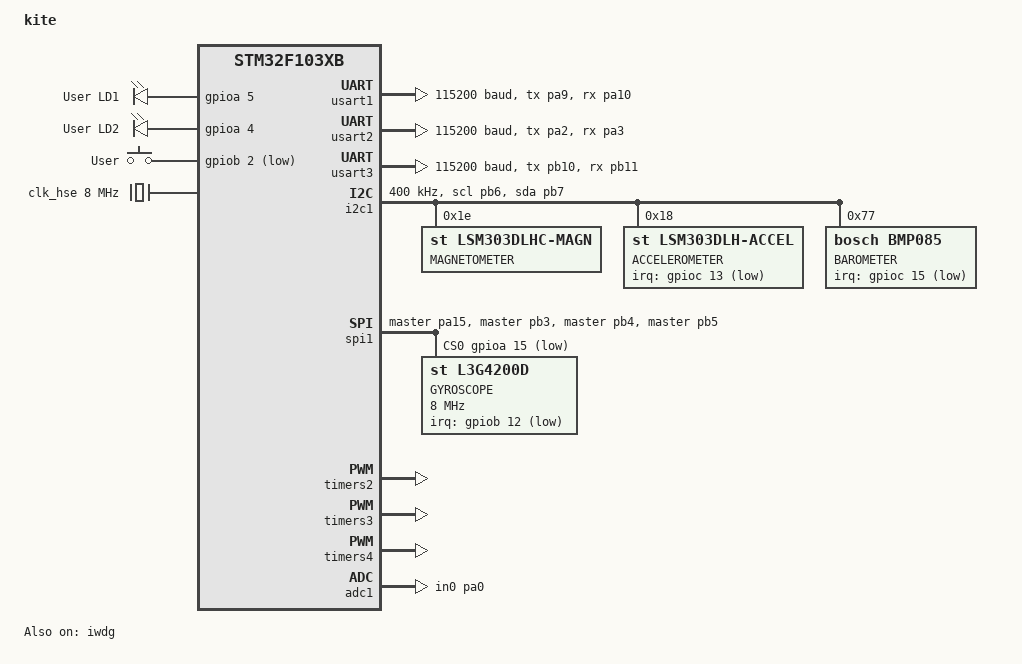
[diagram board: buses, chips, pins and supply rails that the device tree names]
/*
 * Copyright (c) 2021 gouqs@hotmail.com
 *
 * SPDX-License-Identifier: Apache-2.0
 */

/dts-v1/;
#include <st/f1/stm32f103Xb.dtsi>
#include <st/f1/stm32f103c(8-b)tx-pinctrl.dtsi>

/ {
	model = "kite";
	compatible = "kite";

	chosen {
		zephyr,console = &usart1;
		zephyr,shell-uart = &usart1;
		zephyr,sram = &sram0;
		zephyr,flash = &flash0;
		//zephyr,code-partition = &slot0_partition;
	};

	leds {
		compatible = "gpio-leds";
		green_led_1: led_1 {
			gpios = <&gpioa 5 GPIO_ACTIVE_HIGH>;
			label = "User LD1";
		};
		green_led_2: led_2 {
			gpios = <&gpioa 4 GPIO_ACTIVE_HIGH>;
			label = "User LD2";
		};
	};

	gpio_keys {
		compatible = "gpio-keys";
		user_button: button {
			label = "User";
			gpios = <&gpiob 2 GPIO_ACTIVE_LOW>;
		};
	};

	aliases {
		led0 = &green_led_1;
		led2 = &green_led_2;
		sw0 = &user_button;
		pwm-servo = &pwm3;
	};
};

&clk_hse {
	clock-frequency = <DT_FREQ_M(8)>;
	status = "okay";
};

&pll {
	mul = <9>;
	clocks = <&clk_hse>;
	status = "okay";
};

&rcc {
	clocks = <&pll>;
	clock-frequency = <DT_FREQ_M(72)>;
	ahb-prescaler = <1>;
	apb1-prescaler = <2>;
	apb2-prescaler = <1>;
};

&usart1 {
	pinctrl-0 = <&usart1_tx_pa9 &usart1_rx_pa10>;
	current-speed = <115200>;
		status = "okay";
};

&usart2 {
	pinctrl-0 = <&usart2_tx_pa2 &usart2_rx_pa3>;
	current-speed = <115200>;
	status = "okay";
};

&usart3 {
	pinctrl-0 = <&usart3_tx_pb10 &usart3_rx_pb11>;
	current-speed = <115200>;
};

&i2c1 {
	pinctrl-0 = <&i2c1_scl_pb6 &i2c1_sda_pb7>;
	status = "okay";
	clock-frequency = <I2C_BITRATE_FAST>;

	lsm303dlhc_magn: lsm303dlhc_magn@1e {
		compatible = "st,lsm303dlhc-magn";
		reg = <0x1E>;
		label = "MAGNETOMETER";
		// irq-gpios = <&gpioc 14 GPIO_ACTIVE_LOW>;
	};

	lsm303dlh_accel: lsm303dlh_accel@18 {
		compatible = "st,lsm303dlh-accel";
		reg = <0x18>;
		label = "ACCELEROMETER";
		irq-gpios = <&gpioc 13 GPIO_ACTIVE_LOW>;
	};

	bmp085: bmp085@77 {
		compatible = "bosch,bmp085";
		reg = <0x77>;
		label = "BAROMETER";
		irq-gpios = <&gpioc 15 GPIO_ACTIVE_LOW>;
	};
};

&spi1 {
	pinctrl-0 = <&spi1_nss_master_pa15 &spi1_sck_master_pb3
			&spi1_miso_master_pb4 &spi1_mosi_master_pb5>;
	status = "okay";
	cs-gpios = <&gpioa 15 GPIO_ACTIVE_LOW>;

	l3g4200d: l3g4200d@0 {
		compatible = "st,l3g4200d";
		label = "GYROSCOPE";
		spi-max-frequency = <8000000>;
		reg = <0>;

		irq-gpios = <&gpiob 12 GPIO_ACTIVE_LOW>;
	};
};

&timers2 {
	status = "okay";

	pwm2: pwm {
		status = "okay";
		pinctrl-0 = <&tim2_ch1_pwm_pa0 &tim2_ch2_pwm_pa1 &tim2_ch3_pwm_pa2 &tim2_ch4_pwm_pa3>;
	};
};

&timers3 {
	status = "okay";

	pwm3: pwm {
		status = "okay";
		pinctrl-0 = <&tim3_ch1_pwm_pa6 &tim3_ch2_pwm_pa7 &tim3_ch3_pwm_pb0 &tim3_ch4_pwm_pb1>;
	};
};

&timers4 {
	status = "okay";

	pwm4: pwm {
		status = "okay";
		pinctrl-0 = <&tim4_ch3_pwm_pb8 &tim4_ch4_pwm_pb9>;
	};
};

&iwdg {
	status = "okay";
};

&adc1 {
	pinctrl-0 = <&adc1_in0_pa0>;
	status = "okay";
};

&flash0 {
	partitions {
		compatible = "fixed-partitions";
		#address-cells = <1>;
		#size-cells = <1>;

		/* Set 2KB of storage at the end of 128KB flash */
		storage_partition: partition@1f800 {
			label = "storage";
			reg = <0x0001f800 0x00000800>;
		};
	};
};
